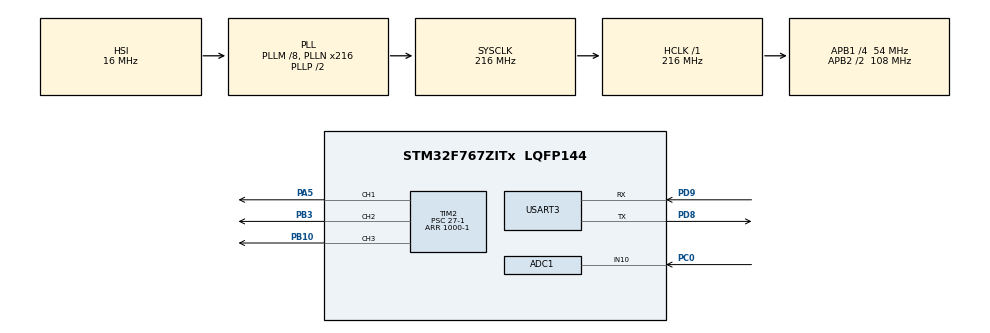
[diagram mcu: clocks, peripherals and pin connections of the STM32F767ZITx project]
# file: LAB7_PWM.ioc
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ADC1.Channel-4\#ChannelRegularConversion=ADC_CHANNEL_10
ADC1.NbrOfConversionFlag=1
ADC1.Rank-4\#ChannelRegularConversion=1
ADC1.SamplingTime-4\#ChannelRegularConversion=ADC_SAMPLETIME_3CYCLES
ADC1.master=1
Mcu.Family=STM32F7
Mcu.Name=STM32F767ZITx
Mcu.Package=LQFP144
NVIC.PriorityGroup=NVIC_PRIORITYGROUP_2
NVIC.TIM2_IRQn=true\:2\:0\:true\:false\:true\:true\:true
PA5.Signal=S_TIM2_CH1_ETR
PB10.GPIO_Speed=GPIO_SPEED_FREQ_VERY_HIGH
PB10.Signal=S_TIM2_CH3
PB3.Signal=S_TIM2_CH2
PC0.Signal=ADCx_IN10
PD8.Mode=Asynchronous
PD8.Signal=USART3_TX
PD9.Mode=Asynchronous
PD9.Signal=USART3_RX
ProjectManager.HeapSize=0x200
ProjectManager.StackSize=0x400
ProjectManager.TargetToolchain=MDK-ARM V5.27
RCC.AHBFreq_Value=216000000
RCC.APB1CLKDivider=RCC_HCLK_DIV4
RCC.APB1Freq_Value=54000000
RCC.APB1TimFreq_Value=108000000
RCC.APB2CLKDivider=RCC_HCLK_DIV2
RCC.APB2Freq_Value=108000000
RCC.APB2TimFreq_Value=216000000
RCC.CortexFreq_Value=216000000
RCC.HCLKFreq_Value=216000000
RCC.HSE_VALUE=25000000
RCC.HSI_VALUE=16000000
RCC.LSE_VALUE=32768
RCC.PLLM=8
RCC.PLLN=216
RCC.SYSCLKFreq_VALUE=216000000
RCC.SYSCLKSource=RCC_SYSCLKSOURCE_PLLCLK
RCC.USBFreq_Value=216000000
RCC.VCOOutputFreq_Value=432000000
SH.ADCx_IN10.0=ADC1_IN10,IN10
SH.S_TIM2_CH1_ETR.0=TIM2_CH1,PWM Generation1 CH1
SH.S_TIM2_CH2.0=TIM2_CH2,PWM Generation2 CH2
SH.S_TIM2_CH3.0=TIM2_CH3,PWM Generation3 CH3
TIM2.Channel-PWM\ Generation1\ CH1=TIM_CHANNEL_1
TIM2.Channel-PWM\ Generation2\ CH2=TIM_CHANNEL_2
TIM2.Channel-PWM\ Generation3\ CH3=TIM_CHANNEL_3
TIM2.Period=1000-1
TIM2.Prescaler=27-1
TIM2.Pulse-PWM\ Generation1\ CH1=0
TIM2.Pulse-PWM\ Generation2\ CH2=0
TIM2.Pulse-PWM\ Generation3\ CH3=0
USART3.VirtualMode-Asynchronous=VM_ASYNC
VP_TIM2_VS_ClockSourceINT.Mode=Internal
board=custom

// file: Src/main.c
/* USER CODE BEGIN Header */
/**
  ******************************************************************************
  * @file           : main.c
  * @brief          : Main program body
  ******************************************************************************
  * @attention
  *
  * <h2><center>&copy; Copyright (c) 2020 STMicroelectronics.
  * All rights reserved.</center></h2>
  *
  * This software component is licensed by ST under BSD 3-Clause license,
  * the "License"; You may not use this file except in compliance with the
  * License. You may obtain a copy of the License at:
  *                        opensource.org/licenses/BSD-3-Clause
  *
  ******************************************************************************
  */
/* USER CODE END Header */

#include "main.h"
#include "adc.h"
#include "tim.h"
#include "usart.h"
#include "gpio.h"

/* USER CODE BEGIN Includes */
#include "stdio.h"
#include "string.h"
/* USER CODE END Includes */

/* USER CODE BEGIN PV */
float dutyR = 0;
float dutyG = 0;
float dutyB = 0;
char ch1;
char display[800];
/* USER CODE END PV */

void SystemClock_Config(void);

int main(void)
{

  /* MCU Configuration--------------------------------------------------------*/

  /* Reset of all peripherals, Initializes the Flash interface and the Systick. */
  HAL_Init();

  /* Configure the system clock */
  SystemClock_Config();

  /* Initialize all configured peripherals */
  MX_GPIO_Init();
  MX_USART3_UART_Init();
  MX_TIM2_Init();
  MX_ADC1_Init();
  /* USER CODE BEGIN 2 */

	htim2.Instance -> CCR1 = (10000-1) * dutyR;
  htim2.Instance -> CCR2 = (10000-1) * dutyG;
	htim2.Instance -> CCR3 = (10000-1) * dutyB;
  HAL_TIM_PWM_Start(&htim2, TIM_CHANNEL_1);
  HAL_TIM_PWM_Start(&htim2, TIM_CHANNEL_2);
	HAL_TIM_PWM_Start(&htim2, TIM_CHANNEL_3);
  /* USER CODE END 2 */

  /* Infinite loop */
  while (1)
  {

    /* USER CODE BEGIN 3 */

		// Get From UART
		while(__HAL_UART_GET_FLAG(&huart3,UART_FLAG_RXNE) == RESET){}
		HAL_UART_Receive(&huart3,(uint8_t*) &ch1,1,1000);

		if(ch1 == 'r'){
			dutyR += 0.2;
			if(dutyR > 1 ) dutyR = 0;
		}else if(ch1 == 'g'){
			dutyG += 0.2;
			if(dutyG > 1 ) dutyG = 0;
		}else if(ch1 == 'b'){
			dutyB += 0.2;
			if(dutyB > 1 ) dutyB = 0;
		}

		htim2.Instance -> CCR1 = (1000-1) * dutyR;
		htim2.Instance -> CCR2 = (1000-1) * dutyG;
		htim2.Instance -> CCR3 = (1000-1) * dutyB;

		sprintf(display, "input => %c    duty R : %.1f | G : %.1f | B : %.1f \r\n",ch1, dutyR , dutyG, dutyB );
		while(__HAL_UART_GET_FLAG(&huart3,UART_FLAG_TC)==RESET){}
		HAL_UART_Transmit(&huart3, (uint8_t*) display, strlen(display),1000);
		// LAB 6-1 END
  }
  /* USER CODE END 3 */
}

void SystemClock_Config(void)
{
  RCC_OscInitTypeDef RCC_OscInitStruct = {0};
  RCC_ClkInitTypeDef RCC_ClkInitStruct = {0};
  RCC_PeriphCLKInitTypeDef PeriphClkInitStruct = {0};

  /** Configure the main internal regulator output voltage
  */
  __HAL_RCC_PWR_CLK_ENABLE();
  __HAL_PWR_VOLTAGESCALING_CONFIG(PWR_REGULATOR_VOLTAGE_SCALE1);
  /** Initializes the CPU, AHB and APB busses clocks
  */
  RCC_OscInitStruct.OscillatorType = RCC_OSCILLATORTYPE_HSI;
  RCC_OscInitStruct.HSIState = RCC_HSI_ON;
  RCC_OscInitStruct.HSICalibrationValue = RCC_HSICALIBRATION_DEFAULT;
  RCC_OscInitStruct.PLL.PLLState = RCC_PLL_ON;
  RCC_OscInitStruct.PLL.PLLSource = RCC_PLLSOURCE_HSI;
  RCC_OscInitStruct.PLL.PLLM = 8;
  RCC_OscInitStruct.PLL.PLLN = 216;
  RCC_OscInitStruct.PLL.PLLP = RCC_PLLP_DIV2;
  RCC_OscInitStruct.PLL.PLLQ = 2;
  if (HAL_RCC_OscConfig(&RCC_OscInitStruct) != HAL_OK)
  {
    Error_Handler();
  }
  /** Activate the Over-Drive mode
  */
  if (HAL_PWREx_EnableOverDrive() != HAL_OK)
  {
    Error_Handler();
  }
  /** Initializes the CPU, AHB and APB busses clocks
  */
  RCC_ClkInitStruct.ClockType = RCC_CLOCKTYPE_HCLK|RCC_CLOCKTYPE_SYSCLK
                              |RCC_CLOCKTYPE_PCLK1|RCC_CLOCKTYPE_PCLK2;
  RCC_ClkInitStruct.SYSCLKSource = RCC_SYSCLKSOURCE_PLLCLK;
  RCC_ClkInitStruct.AHBCLKDivider = RCC_SYSCLK_DIV1;
  RCC_ClkInitStruct.APB1CLKDivider = RCC_HCLK_DIV4;
  RCC_ClkInitStruct.APB2CLKDivider = RCC_HCLK_DIV2;

  if (HAL_RCC_ClockConfig(&RCC_ClkInitStruct, FLASH_LATENCY_7) != HAL_OK)
  {
    Error_Handler();
  }
  PeriphClkInitStruct.PeriphClockSelection = RCC_PERIPHCLK_USART3;
  PeriphClkInitStruct.Usart3ClockSelection = RCC_USART3CLKSOURCE_PCLK1;
  if (HAL_RCCEx_PeriphCLKConfig(&PeriphClkInitStruct) != HAL_OK)
  {
    Error_Handler();
  }
}

void Error_Handler(void)
{
}

/************************ (C) COPYRIGHT STMicroelectronics *****END OF FILE****/
